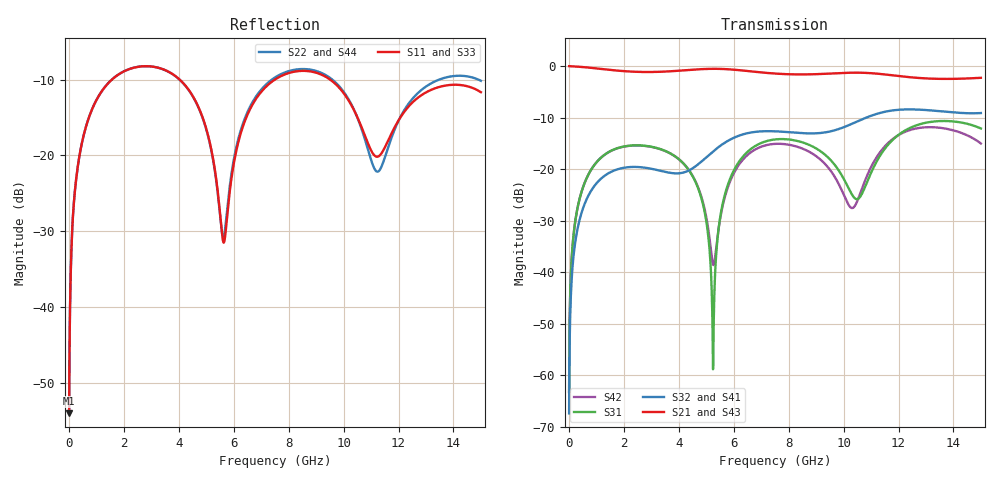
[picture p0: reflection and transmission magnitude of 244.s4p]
! Created with skrf 1.8.0 (http://scikit-rf.org).
# GHz S RI R 50.0
!freq ReS11 ImS11 ReS12 ImS12 ReS13 ImS13
! ReS14 ImS14
! ReS21 ImS21 ReS22 ImS22 ReS23 ImS23
! ReS24 ImS24
! ReS31 ImS31 ReS32 ImS32 ReS33 ImS33
! ReS34 ImS34
! ReS41 ImS41 ReS42 ImS42 ReS43 ImS43
! ReS44 ImS44
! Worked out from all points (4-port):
!   2499 points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, 5 MHz to 15 GHz, reference 50 ohm
!   strongest paths, dB at 5 MHz, 3.476 GHz, 7.19 GHz, 11.1 GHz, 15 GHz:
!     S21: 0.0, -1.1, -1.3, -1.4, -2.3
!     S43: 0.0, -1.1, -1.3, -1.4, -2.3
!     S32: -67.4, -20.5, -12.6, -9.5, -9.1
!     S41: -67.4, -20.6, -12.7, -9.5, -9.2
!     S31: -63.2, -16.4, -14.6, -19.6, -12.1
!     S42: -63.2, -16.4, -15.3, -18.6, -15.0
!   lowest |S11| = -54.0 dB at 5 MHz (marker M1), VSWR 1.00, Z = 50.2 + j0.121 ohm
!   |S11| at or under -10 dB: start of sweep to 1.565 GHz; 4.028 GHz to 7.501 GHz (3.473 GHz wide, 60.3 % of centre); 9.507 GHz to end of sweep
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0.005  0.00159 0.0012  0.9984 -0.0031  8.16e-05 0.000683  -7.9e-05 -0.00042
       0.9984 -0.0031  0.00159 0.0012  -7.9e-05 -0.00042  8.16e-05 0.000683
       8.16e-05 0.000683  -7.9e-05 -0.00042  0.00159 0.0012  0.9984 -0.0031
       -7.9e-05 -0.00042  8.16e-05 0.000683  0.9984 -0.0031  0.00159 0.0012
0.3126303  0.0229 0.0793  0.9687 -0.193  0.0112 0.0407  -0.00924 -0.0248
           0.9687 -0.193  0.0229 0.0793  -0.00925 -0.0248  0.0112 0.0407
           0.0112 0.0407  -0.00925 -0.0248  0.0229 0.0793  0.9687 -0.193
           -0.00924 -0.0248  0.0112 0.0407  0.9687 -0.193  0.0229 0.0793
1.519383  0.2527 0.1809  0.5827 -0.708  0.132 0.0715  -0.0929 -0.0118
          0.5827 -0.708  0.253 0.1807  -0.093 -0.0117  0.1311 0.0727
          0.132 0.0715  -0.093 -0.0117  0.2527 0.181  0.5826 -0.708
          -0.0929 -0.0118  0.1311 0.0727  0.5826 -0.708  0.2531 0.1806
5.245936  0.0442 -0.0846  -0.8975 -0.2835  0.00113 -0.000175  -0.0417 0.1424
          -0.8975 -0.2835  0.045 -0.0823  -0.0389 0.1433  -0.0114 -0.00327
          0.00113 -0.000175  -0.0389 0.1433  0.0463 -0.0856  -0.8973 -0.2837
          -0.0417 0.1424  -0.0114 -0.00327  -0.8973 -0.2837  0.0438 -0.0843
6.715298  0.1548 0.1583  -0.7573 0.4559  0.1405 0.0833  0.1491 0.1731
          -0.7573 0.4559  0.1643 0.1602  0.1524 0.1705  0.1149 0.0987
          0.1405 0.0833  0.1524 0.1705  0.1556 0.1556  -0.7572 0.4563
          0.1491 0.1731  0.1149 0.0987  -0.7572 0.4563  0.1624 0.1609
11.14214  0.0969 -0.0216  0.8229 0.2056  -0.0208 0.1085  0.0828 -0.3291
          0.8229 0.2056  0.0767 -0.0248  0.0726 -0.3316  -0.0329 0.1183
          -0.0208 0.1085  0.0726 -0.3316  0.0961 -0.0278  0.8231 0.2039
          0.0828 -0.3291  -0.0329 0.1183  0.8231 0.2039  0.0792 -0.027
15  0.2443 -0.0919  -0.1217 -0.7599  0.1543 -0.1943  -0.3257 0.1183
    -0.1217 -0.7599  0.2791 -0.1357  -0.3225 0.1368  0.1587 -0.0793
    0.1543 -0.1943  -0.3225 0.1368  0.2393 -0.0877  -0.1287 -0.7588
    -0.3257 0.1183  0.1587 -0.0793  -0.1287 -0.7588  0.2803 -0.142
